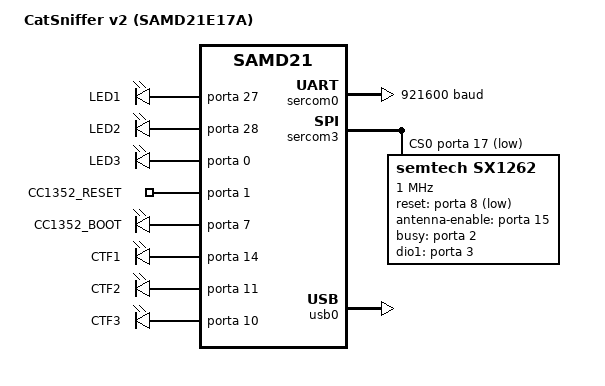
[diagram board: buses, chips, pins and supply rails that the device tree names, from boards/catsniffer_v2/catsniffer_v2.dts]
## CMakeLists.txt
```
# SPDX-License-Identifier: Apache-2.0

cmake_minimum_required(VERSION 3.13.1)
# Out-of-tree board definitions live in boards/<vendor>/<board>/
list(APPEND BOARD_ROOT ${CMAKE_CURRENT_SOURCE_DIR})

find_package(Zephyr REQUIRED HINTS $ENV{ZEPHYR_BASE})

project(catsniffer LANGUAGES C)

set(CATSNIFFER_FW_VERSION "" CACHE STRING "Firmware version label (for releases)")
if(DEFINED ENV{CATSNIFFER_FW_VERSION} AND NOT "$ENV{CATSNIFFER_FW_VERSION}" STREQUAL "")
    set(CATSNIFFER_FW_VERSION "$ENV{CATSNIFFER_FW_VERSION}" CACHE STRING "Firmware version label (for releases)" FORCE)
endif()

find_package(Git QUIET)
set(CATSNIFFER_GIT_SHA "unknown")
set(CATSNIFFER_GIT_DIRTY "unknown")
if(GIT_FOUND)
    execute_process(
        COMMAND ${GIT_EXECUTABLE} -C ${CMAKE_SOURCE_DIR} rev-parse --short HEAD
        OUTPUT_VARIABLE CATSNIFFER_GIT_SHA
        OUTPUT_STRIP_TRAILING_WHITESPACE
        ERROR_QUIET
    )
    execute_process(
        COMMAND ${GIT_EXECUTABLE} -C ${CMAKE_SOURCE_DIR} status --porcelain --untracked-files=no
        OUTPUT_VARIABLE CATSNIFFER_GIT_STATUS
        OUTPUT_STRIP_TRAILING_WHITESPACE
        ERROR_QUIET
    )
    if(CATSNIFFER_GIT_STATUS STREQUAL "")
        set(CATSNIFFER_GIT_DIRTY "clean")
    else()
        set(CATSNIFFER_GIT_DIRTY "dirty")
    endif()
endif()

if(NOT CATSNIFFER_FW_VERSION)
    set(CATSNIFFER_FW_VERSION "dev-${CATSNIFFER_GIT_SHA}-${CATSNIFFER_GIT_DIRTY}")
endif()

string(TIMESTAMP CATSNIFFER_BUILD_TIME_UTC "%Y-%m-%dT%H:%M:%SZ" UTC)
set(CATSNIFFER_COMPILER_ID "${CMAKE_C_COMPILER_ID}")
set(CATSNIFFER_COMPILER_VERSION "${CMAKE_C_COMPILER_VERSION}")

configure_file(
    ${CMAKE_SOURCE_DIR}/include/fw_version.h.in
    ${CMAKE_BINARY_DIR}/generated/fw_version.h
    @ONLY
)

target_include_directories(app PRIVATE ${CMAKE_SOURCE_DIR}/include)
target_include_directories(app PRIVATE ${CMAKE_BINARY_DIR}/generated)

# Include SX126x driver header for FSK functions
target_include_directories(app PRIVATE ${ZEPHYR_BASE}/drivers/lora/native/sx126x)

FILE(GLOB app_sources src/*.c)

# Add local usb init
target_sources_ifdef(CONFIG_USB_DEVICE_STACK_NEXT app PRIVATE
    src/USB/usbd_init.c
    src/shell_commands.c
)

target_sources(app PRIVATE ${app_sources})
```

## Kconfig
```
# Copyright (c) 2026 Electronic Cats
# SPDX-License-Identifier: Apache-2.0

config CATSNIFFER_BRIDGE_RING_SIZE
	int "Cat-Bridge ring buffer size in bytes (each direction)"
	default 256
	help
	  Size of the two ring buffers between the Cat-Bridge CDC port and the
	  CC1352 UART. Larger values tolerate longer USB stalls at 921600 baud;
	  smaller values free SRAM for debug builds.

source "Kconfig.zephyr"

config SAMPLE_USBD_PID
	hex "USB PID"
	default 0xBABB

config SAMPLE_USBD_PRODUCT
	string "USB product name"
	default "Catsniffer"

config SAMPLE_USBD_MANUFACTURER
	string "USB manufacturer name"
	default "Electronic Cats"

config SAMPLE_USBD_SELF_POWERED
	bool
	default n

config SAMPLE_USBD_REMOTE_WAKEUP
	bool
	default n

config SAMPLE_USBD_MAX_POWER
	int
	default 100

config SAMPLE_USBD_20_EXTENSION_DESC
	bool
	default n
```

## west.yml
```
manifest:
  remotes:
    - name: wero1414
      url-base: https://github.com/wero1414
  projects:
    - name: zephyr
      remote: wero1414
      revision: sx1262-rssi
      import: true
  self:
    path: SAMD21/catsniffer
```

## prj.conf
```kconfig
# Copyright (c) 2021 Nordic Semiconductor ASA
# SPDX-License-Identifier: Apache-2.0

# Enable console over USB
CONFIG_SERIAL=y
CONFIG_UART_INTERRUPT_DRIVEN=y
# DMA-driven RX for the CC1352 UART (SERCOM has no RX FIFO)
CONFIG_DMA=y
CONFIG_UART_ASYNC_API=y
CONFIG_UART_SAM0_ASYNC=y
CONFIG_UART_SAM0_ASYNC_RX_CONTINUOUS=y
# The CC1352 UART uses async (DMA) RX and interrupt-driven TX at the same
# time; the default exclusive mode would drop the TX callback.
CONFIG_UART_EXCLUSIVE_API_CALLBACKS=n
CONFIG_UART_LINE_CTRL=y

# Use only the new USB device stack
CONFIG_USB_DEVICE_STACK_NEXT=y
CONFIG_USBD_CDC_ACM_CLASS=y

CONFIG_SPI=y
CONFIG_LORA=y
CONFIG_GPIO=y
CONFIG_REBOOT=y

# Use native SX126x driver
CONFIG_LORA_MODULE_BACKEND_NATIVE=y
# Keep radio in standby (not deep sleep); avoids a BUSY wakeup deadlock on first lora_config()
CONFIG_LORA_SX126X_NATIVE_SLEEP=n

# Enable unique serial number from chip ID
CONFIG_HWINFO=y

# Disable logging and console for production (enable via debug.conf)
CONFIG_LOG=n
CONFIG_CONSOLE=n
CONFIG_UART_CONSOLE=n

# Stack sizes balanced for 16KB SAMD21 RAM
CONFIG_ISR_STACK_SIZE=768
CONFIG_USBD_MSG_SLAB_COUNT=4
CONFIG_MAIN_STACK_SIZE=1536
CONFIG_SYSTEM_WORKQUEUE_STACK_SIZE=1024

# USB product strings
CONFIG_SAMPLE_USBD_PID=0xBABB
CONFIG_SAMPLE_USBD_PRODUCT="Catsniffer"
CONFIG_SAMPLE_USBD_MANUFACTURER="Electronic Cats"

# Stack headroom reporting in 'status' (no RAM cost) and crash log
CONFIG_INIT_STACKS=y
CONFIG_THREAD_STACK_INFO=y
CONFIG_THREAD_MONITOR=y
```

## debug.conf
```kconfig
# Debug fragment: west build -b catsniffer_v2 -- -DEXTRA_CONF_FILE=debug.conf
# Output goes to Segger RTT over SWD (PA30/PA31); the USB ports stay as in
# production. Logging does not fit in 16 KB SRAM alongside the app, so it
# is left off; printk over RTT is available. Stack headroom per thread is
# already reported by the "status" shell command in every build.
CONFIG_USE_SEGGER_RTT=y
CONFIG_SEGGER_RTT_BUFFER_SIZE_UP=128
CONFIG_SEGGER_RTT_BUFFER_SIZE_DOWN=16
CONFIG_CONSOLE=y
CONFIG_RTT_CONSOLE=y
CONFIG_PRINTK=y
CONFIG_LOG=n
# Trade bridge buffering for the debug tooling
CONFIG_CATSNIFFER_BRIDGE_RING_SIZE=128
```

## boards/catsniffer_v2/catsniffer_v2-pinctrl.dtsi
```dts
/*
 * Copyright (c) 2026 Electronic Cats
 * SPDX-License-Identifier: Apache-2.0
 *
 * CatSniffer v2 (ATSAMD21E17A/E17D) pinctrl configuration
 *
 * SERCOM0 UART  - CC1352P1 at 921600 baud
 *   TX = PA04 (function D -> SERCOM0 PAD0), txpo = 0
 *   RX = PA05 (function D -> SERCOM0 PAD1), rxpo = 1
 *
 * SERCOM3 SPI   - SX1262
 *   MISO = PA22 (function C -> SERCOM3 PAD0), DIPO = 0
 *   MOSI = PA18 (function D -> SERCOM3 PAD2), DOPO = 1
 *   SCK  = PA19 (function D -> SERCOM3 PAD3), DOPO = 1
 *   CS   = PA17 as GPIO (software CS, not in pinmux)
 *
 * USB           - native SAMD21 USB device controller
 *   D- = PA24 (function G -> USB_DM)
 *   D+ = PA25 (function G -> USB_DP)
 */

#include <dt-bindings/pinctrl/samd21-da1eXabcd-pinctrl.h>

&pinctrl {
	sercom0_uart_default: sercom0_uart_default {
		group1 {
			pinmux = <PA4D_SERCOM0_PAD0>,   /* TX */
				 <PA5D_SERCOM0_PAD1>;   /* RX */
		};
	};

	sercom3_spi_default: sercom3_spi_default {
		group1 {
			pinmux = <PA22C_SERCOM3_PAD0>,  /* MISO */
				 <PA18D_SERCOM3_PAD2>,  /* MOSI */
				 <PA19D_SERCOM3_PAD3>;  /* SCK  */
		};
	};

	usb_dc_default: usb_dc_default {
		group1 {
			pinmux = <PA25G_USB_DP>,
				 <PA24G_USB_DM>;
		};
	};
};
```

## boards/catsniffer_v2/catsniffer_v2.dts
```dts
/*
 * Copyright (c) 2026 Electronic Cats
 * SPDX-License-Identifier: Apache-2.0
 *
 * CatSniffer v1.x/v2.x board - ATSAMD21E17A/E17D (32-pin, Port A only)
 * Pin map taken from the Electronic Cats Arduino core, variant "catsniffer".
 *
 *   PA00 = LED3              PA01 = CC1352 RESET (RTS)
 *   PA02 = SX1262 BUSY       PA03 = SX1262 DIO1 (IRQ)
 *   PA04 = CC1352 UART TX    PA05 = CC1352 UART RX
 *   PA07 = CC1352 BOOT (CTS) PA08 = SX1262 RESET (active low)
 *   PA10 = CTF3              PA11 = CTF2
 *   PA14 = CTF1              PA15 = SX1262 ANT_SW
 *   PA17 = SX1262 CS (GPIO)  PA18 = SX1262 MOSI (SERCOM3 PAD2)
 *   PA19 = SX1262 SCK        PA22 = SX1262 MISO (SERCOM3 PAD0)
 *   PA24 = USB D-            PA25 = USB D+
 *   PA27 = LED1              PA28 = LED2
 *   PA30 = SWCLK             PA31 = SWDIO
 *   Unused: PA06 (DIO2), PA09 (DIO3), PA16, PA23
 */

/dts-v1/;
#include <atmel/samd21.dtsi>
#include <atmel/samx2xx17.dtsi>
#include "catsniffer_v2-pinctrl.dtsi"
#include <zephyr/dt-bindings/gpio/gpio.h>

/ {
	model = "CatSniffer v2 (SAMD21E17A)";
	compatible = "electroniccats,catsniffer-v2", "atmel,samd21e17a", "atmel,samd21";

	chosen {
		zephyr,sram = &sram0;
		zephyr,flash = &flash0;
		zephyr,code-partition = &code_partition;
		uart-cc1352 = &sercom0;
	};

	aliases {
		pin-reset = &cc1352_reset;
		pin-boot  = &cc1352_boot;
		led0      = &led_1;
		led1      = &led_2;
		led2      = &led_3;
		ctf1      = &ctf1_pin;
		ctf2      = &ctf2_pin;
		ctf3      = &ctf3_pin;
		lora0     = &sx1262;
	};

	leds {
		compatible = "gpio-leds";

		led_1: led1 {
			gpios = <&porta 27 GPIO_ACTIVE_HIGH>;
			label = "LED1";
		};
		led_2: led2 {
			gpios = <&porta 28 GPIO_ACTIVE_HIGH>;
			label = "LED2";
		};
		led_3: led3 {
			gpios = <&porta 0 GPIO_ACTIVE_HIGH>;
			label = "LED3";
		};
	};

	gpio_pins {
		compatible = "gpio-leds";

		cc1352_reset: cc1352-reset {
			gpios = <&porta 1 GPIO_ACTIVE_HIGH>;
			label = "CC1352_RESET";
		};
		cc1352_boot: cc1352-boot {
			gpios = <&porta 7 GPIO_ACTIVE_HIGH>;
			label = "CC1352_BOOT";
		};
		ctf1_pin: ctf1 {
			gpios = <&porta 14 GPIO_ACTIVE_HIGH>;
			label = "CTF1";
		};
		ctf2_pin: ctf2 {
			gpios = <&porta 11 GPIO_ACTIVE_HIGH>;
			label = "CTF2";
		};
		ctf3_pin: ctf3 {
			gpios = <&porta 10 GPIO_ACTIVE_HIGH>;
			label = "CTF3";
		};
	};
};

&cpu0 {
	clock-frequency = <48000000>;
};

/* samx2xx17.dtsi already sets flash=128KB, sram=16KB; only add partitions */
&flash0 {
	partitions {
		compatible = "fixed-partitions";
		#address-cells = <1>;
		#size-cells = <1>;

		boot_partition: partition@0 {
			label = "uf2-bootloader";
			reg = <0x00000000 DT_SIZE_K(8)>;
			read-only;
		};

		code_partition: partition@2000 {
			label = "code-partition";
			reg = <0x00002000 DT_SIZE_K(120)>;
			read-only;
		};

	};
};

/* CC1352P1 UART - SERCOM0, 921600 baud
 * TX = PA04 (PAD0, function D), RX = PA05 (PAD1, function D)
 * txpo = 0 -> TX on PAD0, rxpo = 1 -> RX on PAD1
 */
&dmac {
	status = "okay";
};

/* DMA triggers (SAMD21 datasheet, DMAC trigger table): SERCOM0 RX = 1, TX = 2 */
&sercom0 {
	status = "okay";
	compatible = "atmel,sam0-uart";
	current-speed = <921600>;
	rxpo = <1>;
	txpo = <0>;
	dmas = <&dmac 0 1>, <&dmac 1 2>;
	dma-names = "rx", "tx";

	pinctrl-0 = <&sercom0_uart_default>;
	pinctrl-names = "default";
};

/* SX1262 SPI - SERCOM3
 * DIPO = 0 -> MISO on PAD0 = PA22 (function C)
 * DOPO = 1 -> MOSI on PAD2 = PA18 (function D), SCK on PAD3 = PA19 (function D)
 * CS = PA17 as GPIO software chip-select (active low)
 */
&sercom3 {
	status = "okay";
	compatible = "atmel,sam0-spi";
	dipo = <0>;
	dopo = <1>;
	#address-cells = <1>;
	#size-cells = <0>;

	cs-gpios = <&porta 17 GPIO_ACTIVE_LOW>;

	pinctrl-0 = <&sercom3_spi_default>;
	pinctrl-names = "default";

	sx1262: sx1262@0 {
		compatible = "semtech,sx1262";
		reg = <0>;
		spi-max-frequency = <1000000>;

		reset-gpios = <&porta 8 GPIO_ACTIVE_LOW>;
		antenna-enable-gpios = <&porta 15 GPIO_ACTIVE_HIGH>;
		busy-gpios  = <&porta 2  GPIO_ACTIVE_HIGH>;
		dio1-gpios  = <&porta 3 GPIO_ACTIVE_HIGH>;
	};
};

/* USB - SAMD21 native USB device controller, 3x CDC-ACM */
zephyr_udc0: &usb0 {
	status = "okay";

	pinctrl-0 = <&usb_dc_default>;
	pinctrl-names = "default";

	cdc_acm_uart0: cdc_acm_uart0 {
		compatible = "zephyr,cdc-acm-uart";
		label = "Cat-Bridge";
		tx-fifo-size = <128>;
		rx-fifo-size = <128>;
	};

	cdc_acm_uart1: cdc_acm_uart1 {
		compatible = "zephyr,cdc-acm-uart";
		label = "Cat-LoRa";
		tx-fifo-size = <64>;
		rx-fifo-size = <64>;
	};

	cdc_acm_uart2: cdc_acm_uart2 {
		compatible = "zephyr,cdc-acm-uart";
		label = "Cat-Shell";
		tx-fifo-size = <64>;
		rx-fifo-size = <64>;
	};
};
```

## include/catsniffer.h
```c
/*
 * Catsniffer Dual USB CDC-ACM Header
 * Eduardo Contreras @ Electronic Cats 2026
 */

#ifndef CATSNIFFER_H
#define CATSNIFFER_H

#include <zephyr/kernel.h>
#include <zephyr/device.h>
#include <zephyr/drivers/gpio.h>
#include <catsniffer_usbd.h>
#include <zephyr/drivers/uart.h>
#include <zephyr/sys/ring_buffer.h>
#include <zephyr/usb/usbd.h>
#include <zephyr/drivers/spi.h>
#include <zephyr/drivers/lora.h>
#include <zephyr/logging/log.h>
#include <zephyr/sys/util.h>
#include <string.h>
#include <stdlib.h>
#include <fw_version.h>

// Ring buffer and command buffer sizes - kept small for SAMD21 (16KB total RAM)
// Ring buffer sizes, sized for the 16 KB SRAM (see design spec)
#define RING_BUF_SIZE_BRIDGE CONFIG_CATSNIFFER_BRIDGE_RING_SIZE
#define RING_BUF_SIZE_LORA 264 /* one 255 B packet + RX header */
#define RING_BUF_SIZE_SHELL 128
#define COMMAND_BUF_SIZE 256

// Define Thead priorities
#define LORA_THREAD_PRIORITY K_PRIO_COOP(5)
#define MAIN_THREAD_PRIORITY K_PRIO_COOP(7)

// Helper macro to simplify GPIO setup
#define INIT_GPIO(name, flags)                                         \
	const struct gpio_dt_spec name =                               \
		GPIO_DT_SPEC_GET_OR(DT_ALIAS(name), gpios, { 0 });     \
	do {                                                           \
		if (!device_is_ready(name.port)) {                     \
			printk("Error: " #name " device not ready\n"); \
			return 1;                                      \
		}                                                      \
		gpio_pin_configure_dt(&name, flags);                   \
	} while (0)

// Mode definitions
enum MODE {
	PASSTHROUGH = 0, // CC1352 passthrough @ 921600 baud
	BOOT = 1,	 // CC1352 bootloader @ 500000 baud
};

// Band definitions
enum BAND {
	GIG = 0,      // 2.4GHz CC1352
	SUBGIG_1 = 1, // Sub-GHz CC1352
	SUBGIG_2 = 2  // LoRa SX1262
};

// LoRa mode definitions
enum LORA_MODE {
	LORA_MODE_STREAM = 0,  // Default: raw binary
	LORA_MODE_COMMAND = 1, // Text commands
};

// LoRa configuration structure
typedef struct {
	uint32_t frequency;		      // Hz (default: 915000000)
	uint8_t spreading_factor;	      // SF_7 to SF_12 (default: SF_7)
	enum lora_signal_bandwidth bandwidth; // BW_125_KHZ, BW_250_KHZ,
					      // BW_500_KHZ
	uint8_t coding_rate; // CR_4_5, CR_4_6, CR_4_7, CR_4_8 (default: CR_4_5)
	int8_t tx_power;     // -9 to 22 dBm (default: 20)
	uint16_t preamble_len;	// Default: 12
	bool iq_inverted;	// IQ inversion (default: false/normal)
	bool public_network;	// Sync word: false=private (0x12), true=public
				// (0x34)
	uint8_t lora_sync_word; // Custom sync word spec value (e.g. 0x2D for
				// Meshtastic). 0 = derive from public_network.
	bool config_pending;	// true if changes not yet applied
} lora_config_t;

// FSK configuration structure
typedef struct {
	uint32_t frequency; // Hz (default: 915000000)
	uint32_t bitrate;   // Bit rate in bps (default: 50000)
	uint32_t fdev;	    // Frequency deviation in Hz (default: 25000)
	enum lora_fsk_shaping shaping;	   // Gaussian BT shaping
					   // (LORA_FSK_SHAPING_*)
	enum lora_fsk_bandwidth bandwidth; // RX bandwidth (FSK_BW_* from
					   // lora.h)
	int8_t tx_power;		   // -9 to 22 dBm (default: 14)
	uint16_t preamble_len; // Preamble length in bytes (default: 5)
	uint8_t sync_word[8];  // Sync word bytes (default: 0x12, 0xAD)
	uint8_t sync_word_len; // Sync word length (default: 2)
	bool fixed_length;     // Fixed vs variable length packets
	uint8_t payload_len;   // Payload length for fixed mode
	bool crc_on;	       // Enable CRC (default: true)
	bool whitening;	       // Enable whitening (default: true)
	bool config_pending;   // true if changes not yet applied
} fsk_config_t;

// Catsniffer state structure
typedef struct {
	uint8_t mode;
	uint8_t band;
	unsigned long led_interval;
	int64_t previous_millis;
	unsigned long baud;
	bool command_recognized;
	uint8_t command_counter;
	char command_data[COMMAND_BUF_SIZE];
	size_t command_data_len;
	// LoRa state
	uint8_t lora_mode;	   // LORA_MODE_STREAM or LORA_MODE_COMMAND
	lora_config_t lora_config; // Current LoRa configuration
	bool lora_initialized;	   // Track initialization state
	bool lora_config_lock;	   // Lock flag to pause LoRa operations during
				   // reconfiguration
	// FSK state
	enum lora_modulation current_modulation; // LORA_MOD_LORA or
						 // LORA_MOD_FSK
	fsk_config_t fsk_config;		 // Current FSK configuration
	bool fsk_initialized; // Track FSK initialization state
	// Packet loss counters (CC1352 UART bridge)
	uint32_t uart_overrun_count;  // UART hardware FIFO overrun events
	uint32_t ring_overflow_count; // Bytes dropped due to ring buffer full
	uint32_t dma_regress_count;   // SAMD21: DMA progress regressions caught
	// Identify state
	bool led_identify; // true while identify LED blink sequence is active
} catsniffer_t;

// Global catsniffer instance
extern catsniffer_t catsniffer;
extern struct k_thread lora_thread;

// Crash log kept in no-init RAM across resets (fault_log.c)
int fault_log_format(char *buf, size_t len);
void trace_event(uint8_t code);
int trace_format(char *buf, size_t len);
/* trace codes */
#define TR_TX_ISR 0x01
#define TR_TX_FILL 0x02
#define TR_TX_DIS 0x03
#define TR_TX_EXIT 0x04
#define TR_CB_RDY 0x10
#define TR_CB_REQ 0x11
#define TR_CB_STOP 0x12
#define TR_CB_DIS 0x13
#define TR_BAUD_0 0x20
#define TR_BAUD_1 0x21
#define TR_BAUD_2 0x22
#define TR_BAUD_3 0x23
#define TR_BAUD_4 0x24
#define TR_CDC0_TX 0x30
#define TR_CMD 0x40
#define TR_WAIT_IN 0x50
#define TR_WAIT_OUT 0x51
#define TR_WAIT_CAP 0x52
#define TR_CDC2_PULL 0x60
#define TR_CDC2_DIS 0x61
#define TR_CDC2_NOTRDY 0x62

// LoRa command format (CDC1):
// TX <hex_data>     - Send LoRa packet (e.g., "TX 48656C6C6F")
// RX [timeout_ms]   - Enter receive mode (e.g., "RX 5000" or "RX" for
// continuous) FREQ <frequency>  - Set frequency in Hz (e.g., "FREQ 868000000")
// SF <7-12>         - Set spreading factor (e.g., "SF 7")
// PWR <-9 to 22>    - Set TX power in dBm (e.g., "PWR 14")
// STATUS            - Get device status

// Function prototypes
void reset_cc1352(void);
void boot_mode_cc1352(void);
void change_baud(unsigned long new_baud);
void change_band(unsigned long new_band);
void change_mode(unsigned long new_mode);
void process_lora_command(char *cmd_line);
int queue_radio_command(const char *cmd_line);
int apply_lora_config(void);

// FSK function prototypes
int apply_fsk_config(void);
int switch_to_lora(void);
int switch_to_fsk(void);

#endif /* CATSNIFFER_H */
```

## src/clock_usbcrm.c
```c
/*
 * clock_usbcrm.c - DFLL48M in USB clock recovery mode for crystal-less boards
 *
 * CatSniffer v1/v2 has no external crystal. Zephyr's SAMD2x SoC init locks
 * the DFLL48M to the internal OSC8M (about 1% accurate), which is outside the
 * 0.25% USB full-speed tolerance: short control transfers succeed but the
 * configuration descriptor fails and the host never configures the device.
 *
 * This early init re-locks the DFLL48M to the USB 1 kHz start-of-frame
 * (USBCRM), the same sequence the Electronic Cats Arduino core uses in
 * startup.c for CRYSTALLESS boards. It runs after soc_reset_hook(), so GCLK0
 * is temporarily moved back to OSC8M while the DFLL is reconfigured.
 */

#include <zephyr/init.h>
#include <soc.h>

#define DFLL48M_USB_MUL 0xBB80 /* 48 MHz / 1 kHz SOF */
#define DFLL48M_USB_FSTEP 0xA  /* datasheet, USB characteristics */
#define DFLL48M_USB_CSTEP 31   /* half of maximum */

static void gclk0_source(uint32_t src)
{
	GCLK->GENDIV.reg = GCLK_GENDIV_ID(0) | GCLK_GENDIV_DIV(0);
	while (GCLK->STATUS.bit.SYNCBUSY) {
	}
	GCLK->GENCTRL.reg = GCLK_GENCTRL_ID(0) | GCLK_GENCTRL_GENEN | src;
	while (GCLK->STATUS.bit.SYNCBUSY) {
	}
}

static int clock_usbcrm_init(void)
{
	uint32_t coarse;

	/* OSC8M is left enabled by the SoC init (CONFIG_SOC_ATMEL_SAMD_OSC8M)
	 */
	gclk0_source(GCLK_GENCTRL_SRC_OSC8M);

	/* Errata: DFLLCTRL writes require ONDEMAND=0 and DFLLRDY */
	SYSCTRL->DFLLCTRL.reg = 0;
	while (!SYSCTRL->PCLKSR.bit.DFLLRDY) {
	}

	coarse = (*((uint32_t *)FUSES_DFLL48M_COARSE_CAL_ADDR) &
		  FUSES_DFLL48M_COARSE_CAL_Msk) >>
		 FUSES_DFLL48M_COARSE_CAL_Pos;
	SYSCTRL->DFLLVAL.reg = SYSCTRL_DFLLVAL_COARSE(coarse) |
			       SYSCTRL_DFLLVAL_FINE(512);

	SYSCTRL->DFLLMUL.reg = SYSCTRL_DFLLMUL_CSTEP(DFLL48M_USB_CSTEP) |
			       SYSCTRL_DFLLMUL_FSTEP(DFLL48M_USB_FSTEP) |
			       SYSCTRL_DFLLMUL_MUL(DFLL48M_USB_MUL);

	SYSCTRL->DFLLCTRL.reg = SYSCTRL_DFLLCTRL_USBCRM |
				SYSCTRL_DFLLCTRL_MODE | SYSCTRL_DFLLCTRL_CCDIS;
	while (!SYSCTRL->PCLKSR.bit.DFLLRDY) {
	}

	SYSCTRL->DFLLCTRL.reg |= SYSCTRL_DFLLCTRL_ENABLE;
	while (!SYSCTRL->PCLKSR.bit.DFLLRDY) {
	}

	gclk0_source(GCLK_GENCTRL_SRC_DFLL48M);

	return 0;
}

SYS_INIT(clock_usbcrm_init, PRE_KERNEL_1, 0);
```

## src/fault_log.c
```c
/*
 * fault_log.c - minimal crash log for boards without a debug console
 *
 * On a fatal error the reason and faulting PC/LR are stored in a no-init
 * SRAM block and the board resets. After reboot "status" prints the entry.
 */

#include <zephyr/kernel.h>
#include <zephyr/arch/cpu.h>
#include <zephyr/fatal.h>
#include <zephyr/sys/reboot.h>
#include <zephyr/linker/sections.h>
#include <stdio.h>
#include "catsniffer.h"

#define FAULT_LOG_MAGIC 0xFA17106DUL
#define TRACE_N 24
#define TRACE_LOG_MAGIC 0x7ACE106DUL

static struct {
	uint32_t magic;
	uint32_t reason;
	uint32_t pc;
	uint32_t lr;
	uint32_t count;
} fault_log __noinit;

void k_sys_fatal_error_handler(unsigned int reason, const struct arch_esf *esf)
{
	if (fault_log.magic != FAULT_LOG_MAGIC) {
		fault_log.magic = FAULT_LOG_MAGIC;
		fault_log.count = 0;
	}
	fault_log.reason = reason;
	fault_log.pc = esf ? esf->basic.pc : 0;
	fault_log.lr = esf ? esf->basic.lr : 0;
	fault_log.count++;
	sys_reboot(SYS_REBOOT_COLD);
	CODE_UNREACHABLE;
}

/* Event trace: last TRACE_N stage codes, survives reset if the bootloader
 * leaves this RAM alone. Read with "status".
 */
static struct {
	uint32_t magic;
	uint32_t count;
	uint8_t codes[TRACE_N];
} trace_log __noinit;

void trace_event(uint8_t code)
{
	unsigned int key = irq_lock();

	if (trace_log.magic != TRACE_LOG_MAGIC) {
		trace_log.magic = TRACE_LOG_MAGIC;
		trace_log.count = 0;
	}
	trace_log.codes[trace_log.count % TRACE_N] = code;
	trace_log.count++;
	irq_unlock(key);
}

int trace_format(char *buf, size_t len)
{
	int n;

	if (trace_log.magic != TRACE_LOG_MAGIC) {
		return snprintf(buf, len, "Trace: none\r\n");
	}
	n = snprintf(buf, len, "Trace(%u):", (unsigned int)trace_log.count);
	for (uint32_t i = 0; i < TRACE_N && i < trace_log.count; i++) {
		uint32_t idx = (trace_log.count -
				MIN(trace_log.count, (uint32_t)TRACE_N) + i) %
			       TRACE_N;
		n += snprintf(buf + n, len - n, " %02x", trace_log.codes[idx]);
	}
	n += snprintf(buf + n, len - n, "\r\n");
	return n;
}

int fault_log_format(char *buf, size_t len)
{
	/* Reason codes are small; anything else is stale RAM from another build
	 */
	if (fault_log.magic != FAULT_LOG_MAGIC || fault_log.count == 0 ||
	    fault_log.reason > 64 || fault_log.count > 100000) {
		return snprintf(buf, len, "Last fault: none\r\n");
	}
	return snprintf(buf, len,
			"Last fault: reason=%u pc=0x%08x lr=0x%08x "
			"count=%u\r\n",
			(unsigned int)fault_log.reason,
			(unsigned int)fault_log.pc, (unsigned int)fault_log.lr,
			(unsigned int)fault_log.count);
}
```

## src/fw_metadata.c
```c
/*
 * fw_metadata.c - stub for SAMD21 (no NVS storage)
 * CC1352 firmware ID is not persisted on v1/v2 hardware.
 */

#include "fw_metadata.h"
#include <errno.h>
#include <string.h>
#include <zephyr/sys/util.h>

static const char *const official_fw_ids[] = {
	"sniffle",
	"ti_sniffer",
	"catsniffer_v3",
	"airtag_spoofer_cc1352p7",
	"airtag_scanner_cc1352p7",
};

int fw_metadata_init(void)
{
	return 0;
}

int fw_metadata_set_cc1352_fw_id(const char *fw_id)
{
	ARG_UNUSED(fw_id);
	return -ENOTSUP;
}

int fw_metadata_get_cc1352_fw_id(char *buf, size_t buf_len)
{
	ARG_UNUSED(buf);
	ARG_UNUSED(buf_len);
	return -ENOENT;
}

int fw_metadata_clear_cc1352_fw_id(void)
{
	return -ENOTSUP;
}

int fw_metadata_has_cc1352_fw_id(void)
{
	return 0;
}

int fw_metadata_is_official_cc1352_fw_id(const char *fw_id)
{
	for (size_t i = 0; i < ARRAY_SIZE(official_fw_ids); i++) {
		if (strcmp(fw_id, official_fw_ids[i]) == 0) {
			return 1;
		}
	}
	return 0;
}

const char *fw_metadata_official_id_by_index(size_t index)
{
	if (index >= ARRAY_SIZE(official_fw_ids)) {
		return NULL;
	}
	return official_fw_ids[index];
}

size_t fw_metadata_official_id_count(void)
{
	return ARRAY_SIZE(official_fw_ids);
}
```
